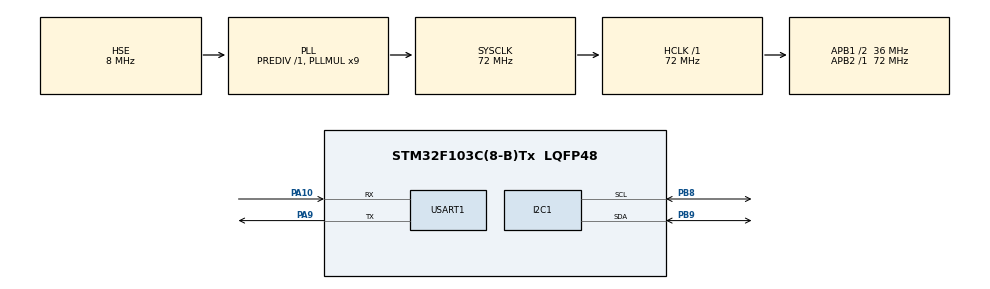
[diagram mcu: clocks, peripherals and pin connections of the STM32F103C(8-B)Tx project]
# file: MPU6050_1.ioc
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Dma.Request0=USART1_RX
Dma.Request1=USART1_TX
Dma.USART1_RX.0.Direction=DMA_PERIPH_TO_MEMORY
Dma.USART1_RX.0.Instance=DMA1_Channel5
Dma.USART1_RX.0.MemDataAlignment=DMA_MDATAALIGN_BYTE
Dma.USART1_RX.0.MemInc=DMA_MINC_ENABLE
Dma.USART1_RX.0.Mode=DMA_NORMAL
Dma.USART1_RX.0.PeriphDataAlignment=DMA_PDATAALIGN_BYTE
Dma.USART1_RX.0.PeriphInc=DMA_PINC_DISABLE
Dma.USART1_RX.0.Priority=DMA_PRIORITY_LOW
Dma.USART1_TX.1.Direction=DMA_MEMORY_TO_PERIPH
Dma.USART1_TX.1.Instance=DMA1_Channel4
Dma.USART1_TX.1.MemDataAlignment=DMA_MDATAALIGN_BYTE
Dma.USART1_TX.1.MemInc=DMA_MINC_ENABLE
Dma.USART1_TX.1.Mode=DMA_NORMAL
Dma.USART1_TX.1.PeriphDataAlignment=DMA_PDATAALIGN_BYTE
Dma.USART1_TX.1.PeriphInc=DMA_PINC_DISABLE
Dma.USART1_TX.1.Priority=DMA_PRIORITY_LOW
I2C1.I2C_Mode=I2C_Fast
Mcu.Family=STM32F1
Mcu.Name=STM32F103C(8-B)Tx
Mcu.Package=LQFP48
NVIC.DMA1_Channel4_IRQn=true\:0\:0\:false\:false\:true\:false\:true
NVIC.DMA1_Channel5_IRQn=true\:0\:0\:false\:false\:true\:false\:true
NVIC.I2C1_ER_IRQn=true\:0\:0\:false\:false\:true\:true\:true
NVIC.I2C1_EV_IRQn=true\:0\:0\:false\:false\:true\:true\:true
NVIC.PriorityGroup=NVIC_PRIORITYGROUP_4
NVIC.USART1_IRQn=true\:0\:0\:false\:false\:true\:true\:true
PA10.Mode=Asynchronous
PA10.Signal=USART1_RX
PA13.Mode=Serial_Wire
PA13.Signal=SYS_JTMS-SWDIO
PA14.Mode=Serial_Wire
PA14.Signal=SYS_JTCK-SWCLK
PA9.Mode=Asynchronous
PA9.Signal=USART1_TX
PB8.Mode=I2C
PB8.Signal=I2C1_SCL
PB9.Mode=I2C
PB9.Signal=I2C1_SDA
PD0-OSC_IN.Mode=HSE-External-Oscillator
PD0-OSC_IN.Signal=RCC_OSC_IN
PD1-OSC_OUT.Mode=HSE-External-Oscillator
PD1-OSC_OUT.Signal=RCC_OSC_OUT
ProjectManager.HeapSize=0x200
ProjectManager.StackSize=0x400
ProjectManager.TargetToolchain=MDK-ARM V5
RCC.AHBFreq_Value=72000000
RCC.APB1CLKDivider=RCC_HCLK_DIV2
RCC.APB1Freq_Value=36000000
RCC.APB1TimFreq_Value=72000000
RCC.APB2Freq_Value=72000000
RCC.APB2TimFreq_Value=72000000
RCC.HCLKFreq_Value=72000000
RCC.PLLMUL=RCC_PLL_MUL9
RCC.PLLSourceVirtual=RCC_PLLSOURCE_HSE
RCC.SYSCLKFreq_VALUE=72000000
RCC.SYSCLKSource=RCC_SYSCLKSOURCE_PLLCLK
RCC.USBFreq_Value=72000000
USART1.VirtualMode=VM_ASYNC
board=custom

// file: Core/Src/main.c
/* USER CODE BEGIN Header */
/**
  ******************************************************************************
  * @file           : main.c
  * @brief          : Main program body
  ******************************************************************************
  * @attention
  *
  * Copyright (c) 2022 STMicroelectronics.
  * All rights reserved.
  *
  * This software is licensed under terms that can be found in the LICENSE file
  * in the root directory of this software component.
  * If no LICENSE file comes with this software, it is provided AS-IS.
  *
  ******************************************************************************
  */
/* USER CODE END Header */
#include "main.h"
#include "dma.h"
#include "i2c.h"
#include "usart.h"
#include "gpio.h"

/* USER CODE BEGIN Includes */
//#include "stdio.h"
#include "mpu6050.h"
#include "inv_mpu.h"
#include "inv_mpu_dmp_motion_driver.h"

/* USER CODE END Includes */

/* USER CODE BEGIN PV */
float pitch, roll, yaw;
uint8_t send_data[] = "Hello";

/* USER CODE END PV */

void SystemClock_Config(void);

/* USER CODE BEGIN 0 */
//int fputc(int ch, FILE *f)
//{ //printf重定向
//  HAL_UART_Transmit(&huart1, (uint8_t *)&ch, 1, 0xFFFF);
//  return (ch);
//}

/* USER CODE END 0 */

int main(void)
{

  /* MCU Configuration--------------------------------------------------------*/

  /* Reset of all peripherals, Initializes the Flash interface and the Systick. */
  HAL_Init();

  /* Configure the system clock */
  SystemClock_Config();

  /* Initialize all configured peripherals */
  MX_GPIO_Init();
  MX_I2C1_Init();
  MX_DMA_Init();
  MX_USART1_UART_Init();

  /* Infinite loop */
  /* USER CODE BEGIN WHILE */
	printf("-- Mpu6050 Project Start -- \r\n");
	HAL_Delay(1000);

  /*
   *DMP初始化
   */
  while (mpu_dmp_init())
  {
    HAL_Delay(200);
  }
	printf("Successfully initialized!\r\n");

	/*
   *iic读取器件ID
   */
	printf ("Ready to read the ID\r\n");
  uint8_t recv = 0x00;
  HAL_I2C_Mem_Read(&hi2c1, (0x68 << 1), 0x75, I2C_MEMADD_SIZE_8BIT, &recv, 1, 0xfff);
  if (recv == 0x68)
  {
    printf("mpu6050 ID Read: OK at 0x68\r\n");
  }
  else
  {
    printf("Err mpu id:0x%x\r\n", recv);
  }

  while (1)
  {
		HAL_Delay(2);

//    if (mpu_dmp_get_data(&pitch, &roll, &yaw) == 0) //DMP读取欧拉角
//      printf("%f,%f,%f\r\n", pitch, roll, yaw);   //串口打印欧拉角
//		else
//			printf("GET DATA FAILED\r\n");
		while(mpu_dmp_get_data(&pitch, &roll, &yaw) != 0){}
		printf("%f,%f,%f\r\n", pitch, roll, yaw);

		HAL_Delay(500);
    /* USER CODE END WHILE */

  }
}

void SystemClock_Config(void)
{
  RCC_OscInitTypeDef RCC_OscInitStruct = {0};
  RCC_ClkInitTypeDef RCC_ClkInitStruct = {0};

  /** Initializes the RCC Oscillators according to the specified parameters
  * in the RCC_OscInitTypeDef structure.
  */
  RCC_OscInitStruct.OscillatorType = RCC_OSCILLATORTYPE_HSE;
  RCC_OscInitStruct.HSEState = RCC_HSE_ON;
  RCC_OscInitStruct.HSEPredivValue = RCC_HSE_PREDIV_DIV1;
  RCC_OscInitStruct.HSIState = RCC_HSI_ON;
  RCC_OscInitStruct.PLL.PLLState = RCC_PLL_ON;
  RCC_OscInitStruct.PLL.PLLSource = RCC_PLLSOURCE_HSE;
  RCC_OscInitStruct.PLL.PLLMUL = RCC_PLL_MUL9;
  if (HAL_RCC_OscConfig(&RCC_OscInitStruct) != HAL_OK)
  {
    Error_Handler();
  }
  /** Initializes the CPU, AHB and APB buses clocks
  */
  RCC_ClkInitStruct.ClockType = RCC_CLOCKTYPE_HCLK|RCC_CLOCKTYPE_SYSCLK
                              |RCC_CLOCKTYPE_PCLK1|RCC_CLOCKTYPE_PCLK2;
  RCC_ClkInitStruct.SYSCLKSource = RCC_SYSCLKSOURCE_PLLCLK;
  RCC_ClkInitStruct.AHBCLKDivider = RCC_SYSCLK_DIV1;
  RCC_ClkInitStruct.APB1CLKDivider = RCC_HCLK_DIV2;
  RCC_ClkInitStruct.APB2CLKDivider = RCC_HCLK_DIV1;

  if (HAL_RCC_ClockConfig(&RCC_ClkInitStruct, FLASH_LATENCY_2) != HAL_OK)
  {
    Error_Handler();
  }
}

void Error_Handler(void)
{
  __disable_irq();
  while (1)
  {
  }
}
